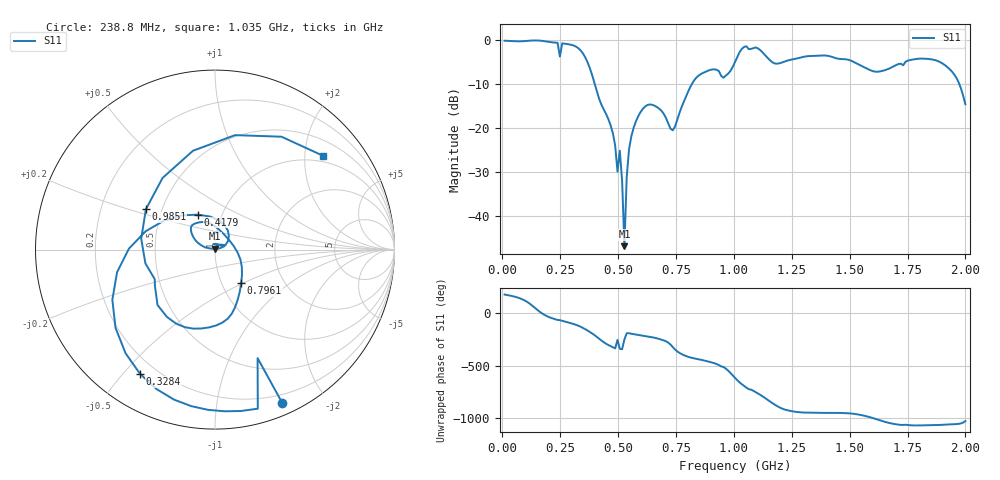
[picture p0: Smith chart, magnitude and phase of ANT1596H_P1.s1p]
!Created with skrf (http://scikit-rf.org).
# Hz S RI R 50.0
!freq ReS11 ImS11
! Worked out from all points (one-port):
!   201 points, 10 MHz to 2 GHz, reference 50 ohm
!   lowest |S11| = -46.7 dB at 527.4 MHz (marker M1), VSWR 1.01, Z = 49.8 + j0.433 ohm
!   |S11| at or under -10 dB: 399.4 MHz to 818.6 MHz (419.2 MHz wide, 68.8 % of centre); 1.974 GHz to end of sweep
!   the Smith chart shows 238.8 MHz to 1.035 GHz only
!   S11 on the Smith chart (normalised r, x): 238.8 MHz: 0.12, -1.52; 328.4 MHz: 0.14, -0.56; 417.9 MHz: 0.77, +0.32; 796 MHz: 1.23, -0.49; 985.1 MHz: 0.41, +0.23; 1.035 GHz: 0.84, +2.41
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1e7  -0.98 0.0763
7.965e7  -0.7023 0.6654
1.1945e8  0.0476 0.9852
1.692e8  0.9816 -0.0027
2.3885e8  0.3739 -0.8529
2.5875e8  0.2384 -0.8863
3.284e8  -0.4177 -0.6923
3.682e8  -0.5456 -0.1258
4.1795e8  -0.0945 0.195
4.9755e8  -0.00798 0.0312
5.075e8  0.0525 0.0187
5.274e8  -0.0015 0.00435
5.473e8  -0.0561 0.0126
5.7715e8  -0.1083 0.0509
7.5625e8  0.1253 -0.0148
7.9605e8  0.1457 -0.1872
9.1545e8  -0.2166 -0.4124
9.851e8  -0.385 0.2251
1.005e9  -0.1223 0.5509
1.03485e9  0.5998 0.5237
1.0846e9  0.7565 -0.2915
1.1244e9  0.2018 -0.695
1.17415e9  -0.4675 -0.2797
1.25375e9  -0.489 0.3557
1.5025e9  -0.3283 0.4878
1.75125e9  0.5694 0.1344
1.91045e9  0.4984 0.1553
2e9  0.1168 0.1462
